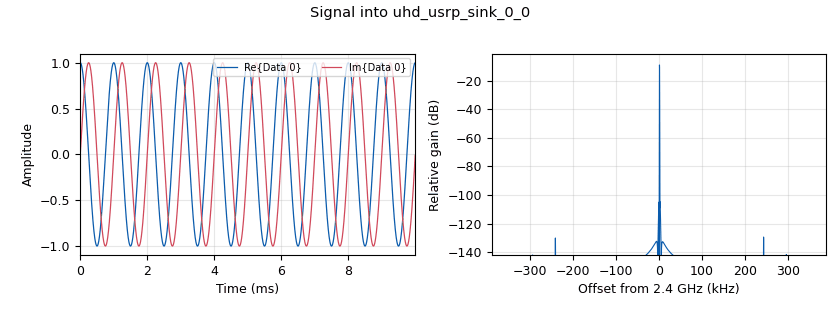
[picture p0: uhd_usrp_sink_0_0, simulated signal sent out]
<?xml version='1.0' encoding='utf-8'?>
<?grc format='1' created='3.7.8'?>
<flow_graph>
<block>
<key>options</key>
<param><key>id</key><value>get_data</value></param>
<param><key>category</key><value>Custom</value></param>
<param><key>generate_options</key><value>no_gui</value></param>
<param><key>run_options</key><value>run</value></param>
<param><key>title</key><value>Capture Data For Calibration</value></param>
</block>
<block>
<key>variable</key>
<param><key>id</key><value>cal_freq</value></param>
<param><key>value</key><value>1000</value></param>
</block>
<block>
<key>variable</key>
<param><key>id</key><value>center_freq</value></param>
<param><key>value</key><value>2.4e9</value></param>
</block>
<block>
<key>variable</key>
<param><key>id</key><value>gain_rx</value></param>
<param><key>value</key><value>0</value></param>
</block>
<block>
<key>variable</key>
<param><key>id</key><value>samp_rate</value></param>
<param><key>value</key><value>100000000/128</value></param>
</block>
<block>
<key>analog_sig_source_x</key>
<param><key>id</key><value>analog_sig_source_x_0</value></param>
<param><key>amp</key><value>1</value></param>
<param><key>freq</key><value>cal_freq</value></param>
<param><key>offset</key><value>0</value></param>
<param><key>type</key><value>complex</value></param>
<param><key>samp_rate</key><value>samp_rate</value></param>
<param><key>waveform</key><value>analog.GR_COS_WAVE</value></param>
</block>
<block>
<key>blocks_complex_to_real</key>
<param><key>id</key><value>blocks_complex_to_real_0_2_0_0_0</value></param>
<param><key>_enabled</key><value>0</value></param>
</block>
<block>
<key>blocks_complex_to_real</key>
<param><key>id</key><value>blocks_complex_to_real_0_2_0_0_0_0</value></param>
<param><key>_enabled</key><value>0</value></param>
</block>
<block>
<key>blocks_message_strobe</key>
<param><key>id</key><value>blocks_message_strobe_0</value></param>
<param><key>msg</key><value>pmt.from_double(0)</value></param>
<param><key>period</key><value>1000</value></param>
</block>
<block>
<key>blocks_null_sink</key>
<param><key>id</key><value>blocks_null_sink_0</value></param>
<param><key>bus_conns</key><value>[[0,],]</value></param>
<param><key>_enabled</key><value>0</value></param>
<param><key>type</key><value>complex</value></param>
</block>
<block>
<key>qtgui_time_sink_x</key>
<param><key>id</key><value>qtgui_time_sink_x_0_1_0_0_0</value></param>
<param><key>autoscale</key><value>True</value></param>
<param><key>ctrlpanel</key><value>True</value></param>
<param><key>_enabled</key><value>0</value></param>
<param><key>color1</key><value>"blue"</value></param>
<param><key>label1</key><value></value></param>
<param><key>name</key><value>Title</value></param>
<param><key>size</key><value>1024</value></param>
<param><key>srate</key><value>samp_rate</value></param>
<param><key>tr_mode</key><value>qtgui.TRIG_MODE_AUTO</value></param>
<param><key>type</key><value>float</value></param>
</block>
<block>
<key>save_data_hier</key>
<param><key>id</key><value>save_data_hier_0</value></param>
<param><key>samples</key><value>2**14</value></param>
<param><key>skips</key><value>2**16</value></param>
</block>
<block>
<key>uhd_usrp_sink</key>
<param><key>id</key><value>uhd_usrp_sink_0_0</value></param>
<param><key>ant0</key><value></value></param>
<param><key>center_freq0</key><value>center_freq</value></param>
<param><key>norm_gain0</key><value>False</value></param>
<param><key>gain0</key><value>0</value></param>
<param><key>clock_rate</key><value>0.0</value></param>
<param><key>dev_addr</key><value>"addr=192.168.40.2"</value></param>
<param><key>dev_args</key><value>""</value></param>
<param><key>type</key><value>fc32</value></param>
<param><key>len_tag_name</key><value></value></param>
<param><key>samp_rate</key><value>samp_rate</value></param>
<param><key>sync</key><value>pc_clock</value></param>
</block>
<block>
<key>uhd_usrp_source</key>
<param><key>id</key><value>uhd_usrp_source_0</value></param>
<param><key>ant0</key><value></value></param>
<param><key>center_freq0</key><value>center_freq</value></param>
<param><key>norm_gain0</key><value>False</value></param>
<param><key>gain0</key><value>0</value></param>
<param><key>clock_rate</key><value>0.0</value></param>
<param><key>dev_addr</key><value>"addr=192.168.40.2"</value></param>
<param><key>dev_args</key><value>""</value></param>
<param><key>_enabled</key><value>0</value></param>
<param><key>type</key><value>fc32</value></param>
<param><key>samp_rate</key><value>samp_rate</value></param>
<param><key>sync</key><value></value></param>
</block>
<block>
<key>uhd_usrp_source</key>
<param><key>id</key><value>uhd_usrp_source_0_0</value></param>
<param><key>ant0</key><value></value></param>
<param><key>center_freq0</key><value>center_freq</value></param>
<param><key>norm_gain0</key><value>False</value></param>
<param><key>gain0</key><value>gain_rx</value></param>
<param><key>ant1</key><value></value></param>
<param><key>center_freq1</key><value>center_freq</value></param>
<param><key>norm_gain1</key><value>False</value></param>
<param><key>gain1</key><value>gain_rx</value></param>
<param><key>ant2</key><value></value></param>
<param><key>center_freq2</key><value>center_freq</value></param>
<param><key>norm_gain2</key><value>False</value></param>
<param><key>gain2</key><value>gain_rx</value></param>
<param><key>clock_rate</key><value>0.0</value></param>
<param><key>comment</key><value>3/4 USRP Sync with External Clock</value></param>
<param><key>dev_addr</key><value>"addr0=192.168.30.2,addr1=192.168.70.2,addr2=192.168.20.2"</value></param>
<param><key>dev_args</key><value>""</value></param>
<param><key>clock_source0</key><value>external</value></param>
<param><key>time_source0</key><value>external</value></param>
<param><key>clock_source1</key><value>external</value></param>
<param><key>time_source1</key><value>external</value></param>
<param><key>clock_source2</key><value>external</value></param>
<param><key>time_source2</key><value>external</value></param>
<param><key>nchan</key><value>3</value></param>
<param><key>num_mboards</key><value>3</value></param>
<param><key>type</key><value>fc32</value></param>
<param><key>samp_rate</key><value>samp_rate</value></param>
<param><key>sync</key><value>sync</value></param>
</block>
<connection><source_block_id>analog_sig_source_x_0</source_block_id><sink_block_id>blocks_complex_to_real_0_2_0_0_0_0</sink_block_id><source_key>0</source_key><sink_key>0</sink_key></connection>
<connection><source_block_id>analog_sig_source_x_0</source_block_id><sink_block_id>uhd_usrp_sink_0_0</sink_block_id><source_key>0</source_key><sink_key>0</sink_key></connection>
<connection><source_block_id>blocks_complex_to_real_0_2_0_0_0</source_block_id><sink_block_id>qtgui_time_sink_x_0_1_0_0_0</sink_block_id><source_key>0</source_key><sink_key>0</sink_key></connection>
<connection><source_block_id>blocks_message_strobe_0</source_block_id><sink_block_id>save_data_hier_0</sink_block_id><source_key>strobe</source_key><sink_key>Trigger</sink_key></connection>
<connection><source_block_id>uhd_usrp_source_0</source_block_id><sink_block_id>blocks_complex_to_real_0_2_0_0_0</sink_block_id><source_key>0</source_key><sink_key>0</sink_key></connection>
<connection><source_block_id>uhd_usrp_source_0_0</source_block_id><sink_block_id>blocks_null_sink_0</sink_block_id><source_key>0</source_key><sink_key>0</sink_key></connection>
<connection><source_block_id>uhd_usrp_source_0_0</source_block_id><sink_block_id>save_data_hier_0</sink_block_id><source_key>0</source_key><sink_key>0</sink_key></connection>
<connection><source_block_id>uhd_usrp_source_0_0</source_block_id><sink_block_id>save_data_hier_0</sink_block_id><source_key>1</source_key><sink_key>1</sink_key></connection>
<connection><source_block_id>uhd_usrp_source_0_0</source_block_id><sink_block_id>save_data_hier_0</sink_block_id><source_key>2</source_key><sink_key>2</sink_key></connection>
</flow_graph>
